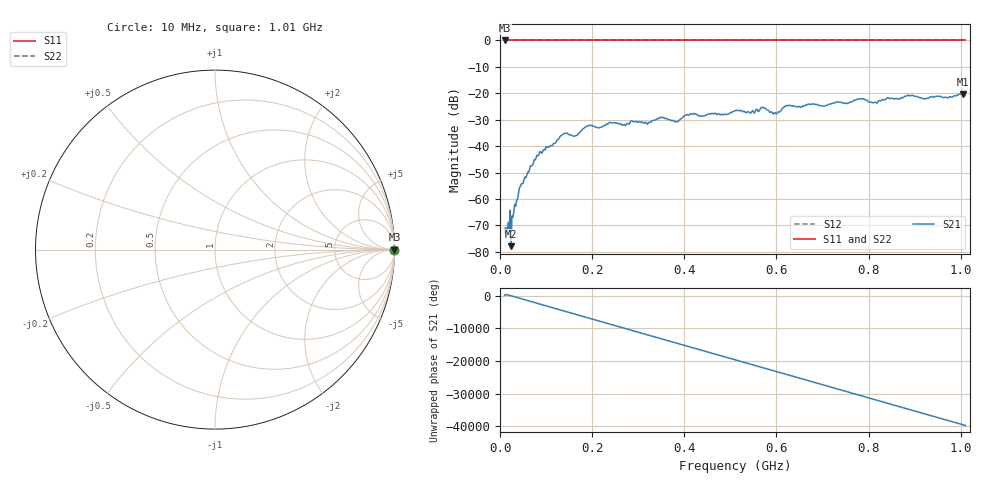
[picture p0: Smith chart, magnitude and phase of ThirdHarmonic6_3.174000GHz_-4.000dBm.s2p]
! 8/17/2025 9:33:52 AM
! C:\ANRITSUVNA\TEMP\TEMP.S2P
! CHANNEL.1
! TR.MEASUREMENT
! RAW.DATA
! RF.CORRECTION.OFF
! AVERAGING.OFF
! IF.BANDWIDTH: 5KHZ
! SWEEPTYPE:  FREQ.SWEEP(Linear)
! Reference Plane Port Info
! PORT:  PORT1  PORT2
! DISTANCE:  0  m  0  m
! TIME:  0  s  0  s
! PHASE.OFFSET:  0  deg.  0  deg.
! LOSS:  0  dB  0  dB
! REF.LOSS:  0  dB  0  dB
! REF.FREQ:  0  Hz  0  Hz
! Power Info
! POWER:  -20  dBm  -20  dBm
! EFF.POWER:  -20  dBm  -20  dBm
! SOURCE.ATTEN:  0  dB  0  dB
! TEST.ATTEN:  0  dB  0  dB
# GHZ S RI R 50.0
! FREQ.GHZ  S11RE  S11IM  S21RE  S21IM  S12RE  S12IM  S22RE  S22IM
!; PortSelection: Port_12
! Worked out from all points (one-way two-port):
!   501 points, 10 MHz to 1.01 GHz, reference 50 ohm
!   highest |S21| = -20.24 dB at 1.004 GHz (marker M1); lowest = -77.8 dB at 24 MHz (marker M2)
!   lowest |S11| = 0.0 dB at 10 MHz (marker M3)
!   |S11| at or under -10 dB: nowhere
!   |S22| runs from 0.0 to 0.0 dB; largest |S21 - S12| = 1.1
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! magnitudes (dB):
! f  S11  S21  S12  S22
! 10 MHz  0.0  -72.8  0.0  0.0
! 24 MHz  0.0  -77.8  0.0  0.0
! 44 MHz  0.0  -55.3  0.0  0.0
! 84 MHz  0.0  -43.4  0.0  0.0
! 136 MHz  0.0  -35.6  0.0  0.0
! 164 MHz  0.0  -36.1  0.0  0.0
! 178 MHz  0.0  -33.9  0.0  0.0
! 194 MHz  0.0  -32.0  0.0  0.0
! 322 MHz  0.0  -31.2  0.0  0.0
! 344 MHz  0.0  -29.7  0.0  0.0
! 382 MHz  0.0  -30.7  0.0  0.0
! 416 MHz  0.0  -27.9  0.0  0.0
! 510 MHz  0.0  -26.6  0.0  0.0
! 570 MHz  0.0  -25.3  0.0  0.0
! 598 MHz  0.0  -27.5  0.0  0.0
! 622 MHz  0.0  -24.7  0.0  0.0
! 678 MHz  0.0  -24.0  0.0  0.0
! 784 MHz  0.0  -22.1  0.0  0.0
! 814 MHz  0.0  -23.4  0.0  0.0
! 844 MHz  0.0  -21.9  0.0  0.0
! 1.004 GHz  0.0  -20.2  0.0  0.0
! 1.01 GHz  0.0  -20.8  0.0  0.0
